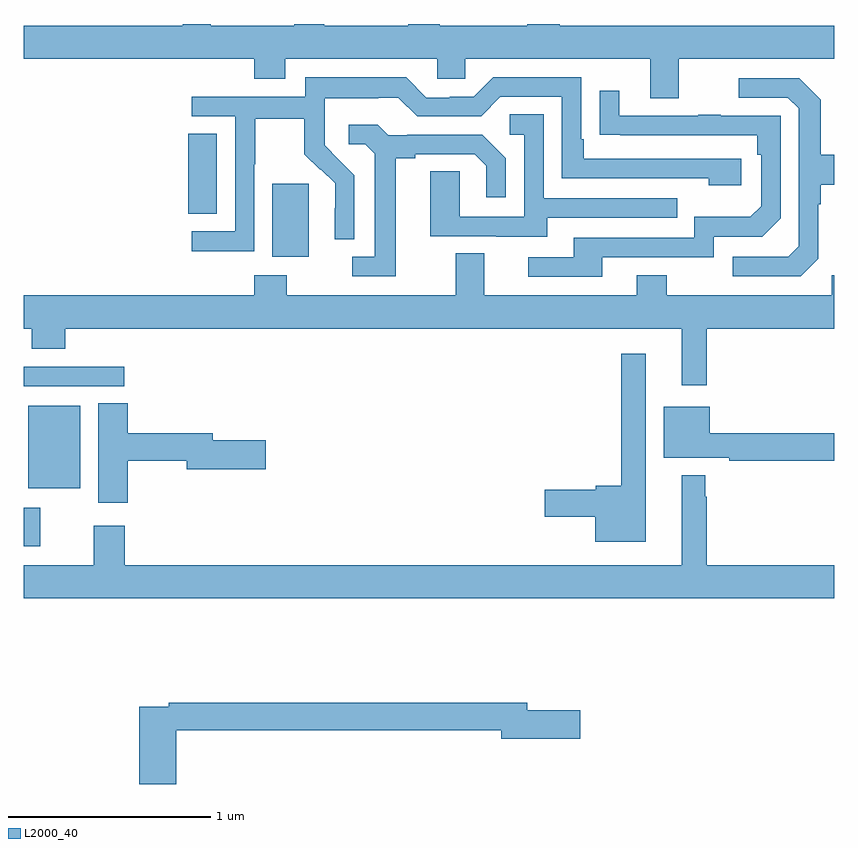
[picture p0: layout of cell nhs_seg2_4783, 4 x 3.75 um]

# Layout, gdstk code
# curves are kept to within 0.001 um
import gdstk
lib = gdstk.Library(unit=1e-6, precision=1e-09)
def R(c, l, rs):  # rectangles x0, y0, x1, y1
    for r in rs: c.add(gdstk.rectangle(r[:2], r[2:], *l))
def P(c, l, *ps):  # polygons
    for p in ps: c.add(gdstk.Polygon(p, *l))
L2000_40 = (2000, 40)

nhs_seg2_4783 = lib.new_cell('nhs_seg2_4783')
R(nhs_seg2_4783, L2000_40, [(371,653.222,371.08,653.412), (371.021,653.507,371.278,653.914), (371,654.012,371.494,654.108), (372.227,654.65,372.406,655.011), (371.81,654.862,371.953,655.259)])
P(nhs_seg2_4783, L2000_40, [(374.233,655.628),(375,655.628),(375,655.792),(373.646,655.792),(373.646,655.8),(373.486,655.8),(373.486,655.792),(373.053,655.792),(373.053,655.8),(372.898,655.8),(372.898,655.792),(372.483,655.792),(372.483,655.8),(372.335,655.8),(372.335,655.792),(371.923,655.792),(371.923,655.8),(371.784,655.8),(371.784,655.792),(371,655.792),(371,655.628),(372.137,655.628),(372.137,655.529),(372.289,655.529),(372.289,655.628),(373.041,655.628),(373.041,655.53),(373.179,655.53),(373.179,655.628),(374.093,655.628),(374.093,655.434),(374.233,655.434)],
  [(372.138,655.108),(372.141,655.108),(372.141,655.332),(372.385,655.332),(372.385,655.157),(372.462,655.08),(372.465,655.083),(372.536,655.013),(372.536,654.89),(372.534,654.89),(372.534,654.736),(372.63,654.736),(372.63,655.054),(372.484,655.202),(372.484,655.299),(372.486,655.299),(372.486,655.433),(372.749,655.433),(372.749,655.437),(372.849,655.437),(372.942,655.344),(373.257,655.344),(373.353,655.44),(373.656,655.44),(373.656,655.038),(374.381,655.038),(374.381,655.004),(374.542,655.004),(374.542,655.134),(373.765,655.134),(373.765,655.231),(373.752,655.231),(373.752,655.536),(373.317,655.536),(373.221,655.44),(373.103,655.44),(373.103,655.437),(372.987,655.437),(372.887,655.537),(372.39,655.537),(372.39,655.44),(371.829,655.44),(371.829,655.344),(372.042,655.344),(372.042,654.777),(371.829,654.777),(371.829,654.679),(372.138,654.679)],
  [(374.922,654.642),(374.922,654.911),(374.935,654.911),(374.935,655.007),(375,655.007),(375,655.155),(374.935,655.155),(374.935,655.427),(374.829,655.533),(374.529,655.533),(374.529,655.437),(374.772,655.437),(374.826,655.383),(374.826,654.702),(374.775,654.651),(374.499,654.651),(374.499,654.555),(374.835,654.555)],
  [(373.855,654.648),(374.406,654.648),(374.406,654.75),(374.646,654.75),(374.736,654.84),(374.736,655.347),(374.441,655.347),(374.441,655.352),(374.329,655.352),(374.329,655.347),(373.939,655.347),(373.939,655.471),(373.843,655.471),(373.843,655.252),(374.62,655.251),(374.62,655.154),(374.64,655.154),(374.64,654.9),(374.587,654.847),(374.31,654.847),(374.31,654.744),(373.715,654.744),(373.715,654.648),(373.491,654.648),(373.491,654.552),(373.855,654.552)],
  [(373.585,654.843),(374.225,654.843),(374.225,654.939),(373.566,654.939),(373.566,655.355),(373.398,655.355),(373.398,655.254),(373.47,655.254),(373.47,654.849),(373.152,654.849),(373.152,655.073),(373.007,655.073),(373.007,654.753),(373.331,654.753),(373.331,654.749),(373.585,654.749)],
  [(372.835,655.136),(372.931,655.136),(372.931,655.158),(373.226,655.158),(373.283,655.101),(373.283,654.945),(373.38,654.945),(373.38,655.138),(373.264,655.254),(372.892,655.254),(372.892,655.251),(372.798,655.251),(372.746,655.303),(372.603,655.303),(372.603,655.206),(372.684,655.206),(372.731,655.159),(372.731,654.651),(372.621,654.651),(372.621,654.555),(372.835,654.555)],
  [(374.371,654.296),(375,654.296),(375,654.559),(374.988,654.559),(374.988,654.46),(374.175,654.46),(374.175,654.559),(374.027,654.559),(374.027,654.46),(373.273,654.46),(373.273,654.668),(373.133,654.668),(373.133,654.46),(372.297,654.46),(372.297,654.559),(372.137,654.559),(372.137,654.46),(371,654.46),(371,654.296),(371.039,654.296),(371.039,654.197),(371.204,654.197),(371.204,654.296),(374.249,654.296),(374.249,654.015),(374.371,654.015)],
  [(374.071,654.172),(373.95,654.172),(373.95,653.519),(373.824,653.519),(373.824,653.501),(373.572,653.501),(373.572,653.366),(373.82,653.366),(373.82,653.243),(374.071,653.243)],
  [(371.513,653.644),(371.804,653.644),(371.804,653.602),(372.193,653.602),(372.193,653.744),(371.932,653.744),(371.932,653.78),(371.513,653.78),(371.513,653.927),(371.366,653.927),(371.366,653.436),(371.513,653.436)],
  [(375,653.78),(374.386,653.78),(374.386,653.911),(374.159,653.911),(374.159,653.657),(374.482,653.657),(374.482,653.644),(375,653.644)],
  [(375,653.128),(374.371,653.128),(374.371,653.465),(374.364,653.465),(374.364,653.572),(374.249,653.572),(374.249,653.128),(371.498,653.128),(371.498,653.323),(371.345,653.323),(371.345,653.128),(371,653.128),(371,652.964),(375,652.964)],
  [(371.753,652.312),(373.358,652.312),(373.358,652.27),(373.747,652.27),(373.747,652.412),(373.486,652.412),(373.486,652.448),(371.716,652.448),(371.716,652.428),(371.57,652.428),(371.57,652.047),(371.753,652.047)])

lib.write_gds('nhs_seg2_4783.gds')
